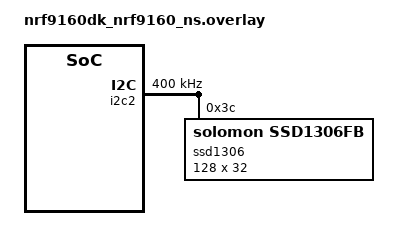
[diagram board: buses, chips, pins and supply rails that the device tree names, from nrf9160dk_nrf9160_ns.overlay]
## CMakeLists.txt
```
# SPDX-License-Identifier: Apache-2.0

cmake_minimum_required(VERSION 3.20.0)


find_package(Zephyr REQUIRED HINTS $ENV{ZEPHYR_BASE})
project(hello_world)

FILE(GLOB app_sources src/*.c)
target_sources(app PRIVATE ${app_sources})
```

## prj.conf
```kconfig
# nothing here
CONFIG_LV_Z_MEM_POOL_NUMBER_BLOCKS=8
CONFIG_MAIN_STACK_SIZE=2048

CONFIG_DISPLAY=y
CONFIG_DISPLAY_LOG_LEVEL_ERR=y

CONFIG_LOG=y

CONFIG_LVGL=y
CONFIG_LV_MEM_CUSTOM=y
CONFIG_LV_USE_LOG=y
CONFIG_LV_USE_LABEL=y
CONFIG_LV_USE_BTN=y
CONFIG_LV_USE_IMG=y
CONFIG_LV_FONT_MONTSERRAT_14=y

CONFIG_SSD1306_REVERSE_MODE=y
```

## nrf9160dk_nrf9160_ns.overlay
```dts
// To get started, press Ctrl+Space (or Option+Esc) to bring up the completion menu and view the available nodes.

// You can also use the buttons in the sidebar to perform actions on nodes.
// Actions currently available include:

// * Enabling / disabling the node
// * Adding the bus to a bus
// * Removing the node
// * Connecting ADC channels

// For more help, browse the DeviceTree documentation at https://docs.zephyrproject.org/latest/guides/dts/index.html
// You can also visit the nRF DeviceTree extension documentation at https://nrfconnect.github.io/vscode-nrf-connect/devicetree/nrfdevicetree.html

//; To get started, press Ctrl+Space to bring up the completion menu and view the available nodes.

// You can also use the buttons in the sidebar to perform actions on nodes.
// Actions currently available include:

// * Enabling / disabling the node
// * Adding the bus to a bus
// * Removing the node
// * Connecting ADC channels

// For more help, browse the DeviceTree documentation at https://docs.zephyrproject.org/latest/guides/dts/index.html
// You can also visit the nRF DeviceTree extension documentation at https://nrfconnect.github.io/vscode-nrf-connect/devicetree/nrfdevicetree.html
//ssd1306_128x32
&pinctrl {
    i2c2_default: i2c2_default {
        group1 {
            psels = <NRF_PSEL(TWIM_SDA, 0, 31)>, // GPIO P1.2
                <NRF_PSEL(TWIM_SCL, 0, 30)>; 	// GPIO P1.3
        };
    };

    i2c2_sleep: i2c2_sleep {
        group1 {
            psels = <NRF_PSEL(TWIM_SDA, 0, 31)>, // GPIO P1.2
                <NRF_PSEL(TWIM_SCL, 0, 30)>;	// GPIO P1.3
            low-power-enable;
        };
    };
};

arduino_i2c: &i2c2 {
	compatible = "nordic,nrf-twim";
	status = "okay";
	clock-frequency = <I2C_BITRATE_FAST>;
    zephyr,concat-buf-size = <4096>;
  
    ssd1306: ssd1306@3c {
        compatible = "solomon,ssd1306fb";
        reg = <0x3c>; //0x3c is the i2c address of the display controller IC, SSD1306.
        width = <128>; // Width of the display.
        height = <32>; // Height of the display. Change to '64' when using the 128x64 pixel version.
        segment-offset = <0>;
        page-offset = <0>;
        display-offset = <0>;
        multiplex-ratio = <31>; //change to '63' when using the 128x64 pixel version
        segment-remap;
        com-invdir;
        com-sequential;
        prechargep = <0x22>;
	// add more driver settings here
    };
};
```

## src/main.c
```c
/*
 * Copyright (c) 2018 Jan Van Winkel <jan.van_winkel@dxplore.eu>
 *
 * SPDX-License-Identifier: Apache-2.0
 */

#include <zephyr/device.h>
#include <zephyr/drivers/display.h>
#include <lvgl.h>
#include <stdio.h>
#include <string.h>
#include <zephyr/zephyr.h>

#define LOG_LEVEL CONFIG_LOG_DEFAULT_LEVEL
#include <zephyr/logging/log.h>
LOG_MODULE_REGISTER(app);

void main(void)
{
	uint32_t count = 0U;
	char count_str[11] = {0};
	const struct device *display_dev;
	lv_obj_t *hello_world_label;
	lv_obj_t *count_label;

	display_dev = DEVICE_DT_GET(DT_CHOSEN(zephyr_display));
	if (!device_is_ready(display_dev)) {
		LOG_ERR("Device not ready, aborting test");
		return;
	}

	if (IS_ENABLED(CONFIG_LV_Z_POINTER_KSCAN)) {
		lv_obj_t *hello_world_button;

		hello_world_button = lv_btn_create(lv_scr_act());
		lv_obj_align(hello_world_button, LV_ALIGN_CENTER, 0, 0);
		hello_world_label = lv_label_create(hello_world_button);
	} else {
		hello_world_label = lv_label_create(lv_scr_act());
	}

	lv_label_set_text(hello_world_label, "TORDESIGN");
	lv_obj_align(hello_world_label, LV_ALIGN_CENTER, 0, -5);

	count_label = lv_label_create(lv_scr_act());
	lv_obj_align(count_label, LV_ALIGN_BOTTOM_MID, 0, 0);

	lv_task_handler();
	display_blanking_off(display_dev);

	while (1) {
		if ((count % 100) == 0U) {
			sprintf(count_str, "%d", count/100U);
			lv_label_set_text(count_label, count_str);
		}
		lv_task_handler();
		k_sleep(K_MSEC(10));
		++count;
	}
}
```
